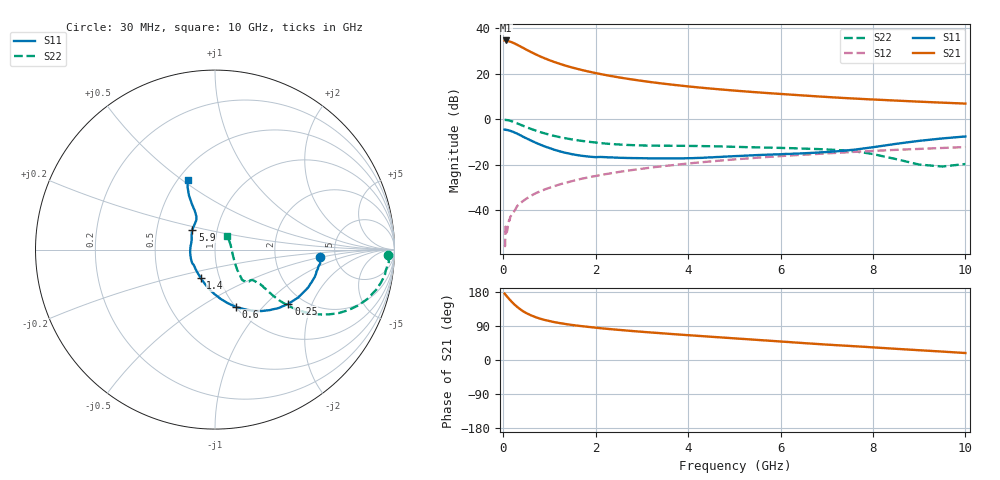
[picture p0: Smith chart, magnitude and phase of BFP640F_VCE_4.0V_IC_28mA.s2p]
! Infineon Technologies  Discrete & RF Semiconductors
! BFP640F
! VCE =  4.0 V,  IC =  28 mA
! Common Emitter S-Parameters:  Apr 2013
# GHz  S  MA  R  50
!  f  S11  S21  S12  S22
! GHz  MAG  ANG  MAG  ANG  MAG  ANG  MAG  ANG
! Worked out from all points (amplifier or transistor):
!   99 points, 30 MHz to 10 GHz, reference 50 ohm
!   highest |S21| = 34.7 dB at 50 MHz (marker M1)
!   |S21| within 3 dB of that: start of sweep to 404.6 MHz
!   unconditionally stable (mu >= 1): 1.902 GHz to end of sweep
!   at 350 MHz: K = 0.48, MSG = 34.8 dB, |S12| = -37.4 dB
!   at 3.5 GHz: K = 1.06, MAG = 16.6 dB, |S12| = -20.6 dB
!   at 10 GHz: K = 1.04, MAG = 8.3 dB, |S12| = -12.2 dB
!   S11 on the Smith chart (normalised r, x): 30 MHz: 3.79, -0.50; 250 MHz: 1.69, -1.37; 600 MHz: 1.00, -0.72; 1.4 GHz: 0.81, -0.27; 5.9 GHz: 0.76, +0.17; 10 GHz: 0.56, +0.52
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0.03  0.5889 -4.2  54.28 175.1  0.0017 72.2  0.9643 -1.7
0.05  0.5913 -7.6  54.38 172.3  0.0043 81.1  0.9722 -3.9
0.09  0.5785 -13.7  53.3 166.3  0.0037 77.9  0.9576 -8.1
0.15  0.5573 -23.0  51.22 158.0  0.007 76.4  0.9261 -13.9
0.2  0.5347 -30.0  48.94 151.6  0.0084 76.9  0.8922 -18.0
0.25  0.5081 -36.4  46.44 145.6  0.0098 75.5  0.8539 -21.5
0.3  0.4822 -42.4  43.79 140.3  0.0122 73.4  0.8146 -24.5
0.4  0.4283 -53.1  38.72 131.1  0.015 72.1  0.7378 -29.2
0.5  0.3803 -62.0  34.15 123.8  0.0178 71.4  0.6713 -32.5
0.6  0.3399 -70.0  30.24 117.9  0.0206 71.1  0.6129 -34.8
0.7  0.305 -77.0  26.96 113.1  0.0234 71.1  0.564 -36.3
0.9  0.2512 -89.7  21.93 105.6  0.0284 71.1  0.4865 -37.9
1.1  0.2137 -101.0  18.34 100.1  0.0335 70.7  0.4301 -38.4
1.4  0.1775 -116.6  14.65 94.0  0.041 70.1  0.3728 -38.1
1.7  0.1567 -131.1  12.17 89.3  0.049 69.4  0.3337 -37.4
2.4  0.1436 -158.9  8.708 80.6  0.0662 66.9  0.2818 -38.4
3.4  0.1378 173.4  6.196 70.8  0.0911 62.6  0.2608 -41.5
5.1  0.1553 146.7  4.204 56.3  0.1328 54.0  0.2457 -46.5
5.9  0.1685 138.4  3.664 49.7  0.1517 49.7  0.2346 -47.5
6.7  0.1822 128.2  3.235 43.0  0.1701 45.2  0.2222 -48.0
8.5  0.2872 116.8  2.576 29.5  0.2118 35.1  0.1324 -33.6
10  0.4177 111.5  2.212 18.4  0.2441 26.4  0.1032 48.1
